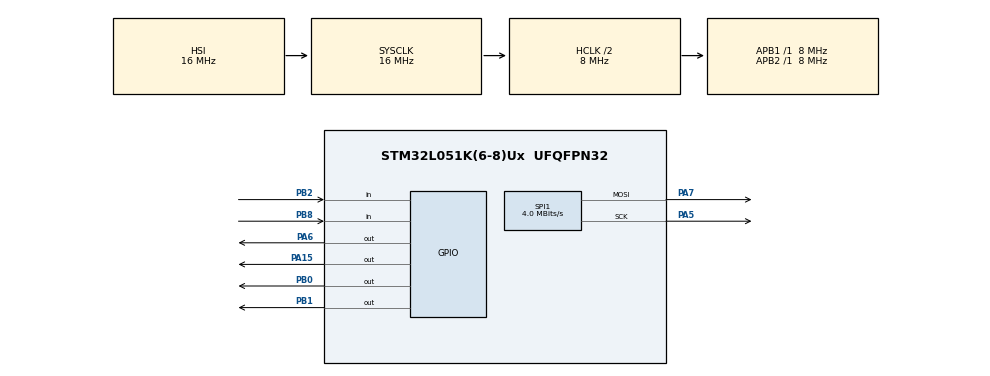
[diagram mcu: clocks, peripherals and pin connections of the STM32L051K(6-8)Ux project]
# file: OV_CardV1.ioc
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Mcu.Family=STM32L0
Mcu.Name=STM32L051K(6-8)Ux
Mcu.Package=UFQFPN32
NVIC.PVD_IRQn=true\:0\:0\:false\:false\:true\:true\:true\:true
PA13.Mode=Serial_Wire
PA13.Signal=SYS_SWDIO
PA14.Mode=Serial_Wire
PA14.Signal=SYS_SWCLK
PA15.Signal=GPIO_Output
PA5.Mode=TX_Only_Simplex_Unidirect_Master
PA5.Signal=SPI1_SCK
PA6.Signal=GPIO_Output
PA7.Mode=TX_Only_Simplex_Unidirect_Master
PA7.Signal=SPI1_MOSI
PB0.Signal=GPIO_Output
PB1.Signal=GPIO_Output
PB2.Signal=GPIO_Input
PB8.Signal=GPIO_Input
ProjectManager.HeapSize=0x200
ProjectManager.StackSize=0x400
ProjectManager.TargetToolchain=MDK-ARM V5.32
RCC.AHBCLKDivider=RCC_SYSCLK_DIV2
RCC.AHBFreq_Value=8000000
RCC.APB1Freq_Value=8000000
RCC.APB1TimFreq_Value=8000000
RCC.APB2Freq_Value=8000000
RCC.APB2TimFreq_Value=8000000
RCC.HCLKFreq_Value=8000000
RCC.HSI16_VALUE=16000000
RCC.HSI_VALUE=16000000
RCC.LSE_VALUE=32768
RCC.MSI_VALUE=2097000
RCC.SYSCLKFreq_VALUE=16000000
RCC.SYSCLKSource=RCC_SYSCLKSOURCE_HSI
RCC.VCOOutputFreq_Value=48000000
SPI1.CalculateBaudRate=4.0 MBits/s
SPI1.Direction=SPI_DIRECTION_2LINES
SPI1.Mode=SPI_MODE_MASTER
SPI1.VirtualType=VM_MASTER
SYS.Mode=PWR_PVD_MODE_IT_RISING
SYS.PVDLevel=PWR_PVDLEVEL_6
VP_SYS_V_PVD_IN.Mode=Mode_PVD_Int
board=custom

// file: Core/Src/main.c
/* USER CODE BEGIN Header */
/**
  ******************************************************************************
  * @file           : main.c
  * @brief          : Main program body
  ******************************************************************************
  * @attention
  *
  * Copyright (c) 2023 STMicroelectronics.
  * All rights reserved.
  *
  * This software is licensed under terms that can be found in the LICENSE file
  * in the root directory of this software component.
  * If no LICENSE file comes with this software, it is provided AS-IS.
  *
  ******************************************************************************
  */
/* USER CODE END Header */
#include "main.h"
#include "spi.h"
#include "gpio.h"

/* USER CODE BEGIN Includes */
#include <stdlib.h>
#include "RC522.h"
#include "key.h"
#include "EEPROM.h"
#include "EPD_1in54_V2.h"
#include "GUI_Paint.h"
#include "ImageData.h"
/* USER CODE END Includes */

/* USER CODE BEGIN PM */
int fputc(int ch, FILE *f)
{

  //HAL_UART_Transmit(&huart1, (uint8_t *)&ch, 1, 0xffff);

  return ch;
}

/* USER CODE END PM */

/* USER CODE BEGIN PV */

uint8_t RC522_ERRO = 1;
uint8_t EEPROM_ERRO = 1;

/* USER CODE END PV */

void SystemClock_Config(void);

/* USER CODE BEGIN 0 */
unsigned char snr, TagType[2], SelectedSnr[4], DefaultKey[6] = {0xFF, 0xFF, 0xFF, 0xFF, 0xFF, 0xFF};
/* USER CODE END 0 */

int main(void)
{
  /* USER CODE BEGIN 1 */

	uint8_t status;
	uint8_t read_buf[16];
	uint8_t data_addr;
	uint8_t cuid_flag = 1;
	uint8_t epd_flag = 0;
  /* USER CODE END 1 */

  /* MCU Configuration--------------------------------------------------------*/

  /* Reset of all peripherals, Initializes the Flash interface and the Systick. */
  HAL_Init();

  /* Configure the system clock */
  SystemClock_Config();

  /* Initialize all configured peripherals */
  MX_GPIO_Init();
  MX_SPI1_Init();
  /* USER CODE BEGIN 2 */

	key_port_init();

	RC522_Port_Init();
	RC522_PowerOff();

	//Create a new image cache
  UBYTE *BlackImage;
  /* you have to edit the startup_stm32fxxx.s file and set a big enough heap size */
  UWORD Imagesize = ((EPD_1IN54_V2_WIDTH % 8 == 0)? (EPD_1IN54_V2_WIDTH / 8 ): (EPD_1IN54_V2_WIDTH / 8 + 1)) * EPD_1IN54_V2_HEIGHT;
	if((BlackImage = (UBYTE *)malloc(Imagesize)) == NULL) {
        printf("Failed to apply for black memory...\r\n");
    }
	Paint_NewImage(BlackImage, EPD_1IN54_V2_WIDTH, EPD_1IN54_V2_HEIGHT, 270, WHITE);//creat a new image
	Paint_SelectImage(BlackImage);//set the pointer
  Paint_Clear(WHITE);

	if(!EEPROM_Read_W_CHECK(0x00,read_buf,2))
	{
		if(read_buf[0] == 0x55 && read_buf[1] == 0xAA)
		{
			EEPROM_ERRO = 0;
			EEPROM_Read_W_CHECK(DATA_ADDR_ADDR,&data_addr,1);
		}
		else//first use
		{
			read_buf[0] = 0x55;
			read_buf[1] = 0xAA;
			read_buf[2] = 0x10;

			EEPROM_ERRO = EEPROM_Write_W_CHECK(0,read_buf,3);
			if(!EEPROM_ERRO)
			{
				EEPROM_Read_W_CHECK(DATA_ADDR_ADDR,&data_addr,1);

				uint8_t temp = data_addr>>4 & 0x0F;
				temp = (temp-1)*50;

				Paint_DrawBitMap(gImage_MainPic);//put the image in ram
				Paint_DrawBitMap_Paste(gImage_PointerPic,163-temp,145,24,32,0);

				DEV_Module_Init();
				EPD_1IN54_V2_Init();

				EPD_1IN54_V2_Display(BlackImage);

				EPD_1IN54_V2_Sleep();//sleep
				//free(BlackImage);//free
				//BlackImage = NULL;//clear
				DEV_Module_Exit();//exit

			}
		}
	}
	HAL_GPIO_WritePin(GPIOA,GPIO_PIN_15,GPIO_PIN_SET);

	/*********check the CUID card is selected or not************/
	if(HAL_GPIO_ReadPin(GPIOB,GPIO_PIN_8))//the UID card is selected
	{
		if(cuid_flag)
		{
			RC522_ERRO = RC522_Init();
			/*************write the cuid************/
			status= PcdRequest(REQ_ALL,TagType);
			if(!status)
			{
				status = PcdAnticoll(SelectedSnr);
				if(!status)
				{
					status=PcdSelect(SelectedSnr);
					if(!status)
					{
						snr = 0;  //sector 0
						status = PcdAuthState(KEYA, (snr*4+3), DefaultKey, SelectedSnr);
						{
							if(!status)
							{
								if(!EEPROM_ERRO)
								{
									EEPROM_Read_W_CHECK(data_addr,read_buf,16);
								}
								status = PcdWrite((snr*4+0), read_buf);
								if(!status)
								{
									HAL_GPIO_WritePin(GPIOA,GPIO_PIN_15,GPIO_PIN_SET);
									cuid_flag = 0;
									//WaitCardOff();
									HAL_GPIO_WritePin(GPIOA,GPIO_PIN_15,GPIO_PIN_RESET);
									RC522_PowerOff();
								}
							}
						}
					}
				}
			}
			/***************************************/
		}
	}
	else	//the UID card is disabled
	{
		/***********search the card***************/
		if(cuid_flag)
		{
			RC522_ERRO = RC522_Init();
			status= PcdRequest(REQ_ALL,TagType);
			if(!status)
			{
				status = PcdAnticoll(SelectedSnr);
				if(!status)
				{
					status=PcdSelect(SelectedSnr);
					if(!status)
					{
						snr = 0;  //sector 0
						status = PcdAuthState(KEYA, (snr*4+3), DefaultKey, SelectedSnr);
						{
							if(!status)
							{
								status = PcdRead((snr*4+0), read_buf);
								if(!status)
								{
									HAL_GPIO_WritePin(GPIOA,GPIO_PIN_15,GPIO_PIN_SET);
									//WaitCardOff();
									if(!EEPROM_ERRO)
									{
										EEPROM_Write_W_CHECK(data_addr,read_buf,16);
									}
									HAL_GPIO_WritePin(GPIOA,GPIO_PIN_15,GPIO_PIN_RESET);
									//return 0;
									RC522_PowerOff();
									cuid_flag = 0;
								}
							}
						}
					}
				}
			}
		}
		/****************************************/
	}
	/***********************************************************/

  /* USER CODE END 2 */

  /* Infinite loop */
  while (1)
  {

    /* USER CODE BEGIN 3 */

		/*****************Key Scan*****************/
		uint8_t key;
		key = KeyScan(0);
		if(key == 1)
		{
			data_addr -= 0x10;//data_addr --, change to previous UID
			if(data_addr<0x10)
				data_addr = 0x10*ID_NUM;
			HAL_GPIO_WritePin(GPIOA,GPIO_PIN_15,GPIO_PIN_SET);
			if(!EEPROM_ERRO)
			{
				EEPROM_Write_W_CHECK(DATA_ADDR_ADDR,&data_addr,1);
			}
			epd_flag = 1;
		}
		else if(key == 2)
		{
			data_addr += 0x10;//data_addr add, change to next UID
			if(data_addr>(0x10*ID_NUM))
				data_addr = 0x10;
			HAL_GPIO_WritePin(GPIOA,GPIO_PIN_15,GPIO_PIN_SET);
			if(!EEPROM_ERRO)
			{
				EEPROM_Write_W_CHECK(DATA_ADDR_ADDR,&data_addr,1);
			}
			epd_flag = 1;
		}
		/******************************************/

		/*********check the ID Change and Display the pic***********/
		if(epd_flag)
		{
			uint8_t temp = data_addr>>4 & 0x0F;
			temp = (temp-1)*50;

			Paint_DrawBitMap(gImage_MainPic);//put the image in ram
      		Paint_DrawBitMap_Paste(gImage_PointerPic,163-temp,145,24,32,0);

			DEV_Module_Init();
			EPD_1IN54_V2_Init();

      		EPD_1IN54_V2_Display(BlackImage);

			EPD_1IN54_V2_Sleep();
			DEV_Module_Exit();

			epd_flag = 0;
		}
		/***********************************************************/

  }
  /* USER CODE END 3 */
}

void SystemClock_Config(void)
{
  RCC_OscInitTypeDef RCC_OscInitStruct = {0};
  RCC_ClkInitTypeDef RCC_ClkInitStruct = {0};

  /** Configure the main internal regulator output voltage
  */
  __HAL_PWR_VOLTAGESCALING_CONFIG(PWR_REGULATOR_VOLTAGE_SCALE1);

  /** Initializes the RCC Oscillators according to the specified parameters
  * in the RCC_OscInitTypeDef structure.
  */
  RCC_OscInitStruct.OscillatorType = RCC_OSCILLATORTYPE_HSI;
  RCC_OscInitStruct.HSIState = RCC_HSI_ON;
  RCC_OscInitStruct.HSICalibrationValue = RCC_HSICALIBRATION_DEFAULT;
  RCC_OscInitStruct.PLL.PLLState = RCC_PLL_NONE;
  if (HAL_RCC_OscConfig(&RCC_OscInitStruct) != HAL_OK)
  {
    Error_Handler();
  }

  /** Initializes the CPU, AHB and APB buses clocks
  */
  RCC_ClkInitStruct.ClockType = RCC_CLOCKTYPE_HCLK|RCC_CLOCKTYPE_SYSCLK
                              |RCC_CLOCKTYPE_PCLK1|RCC_CLOCKTYPE_PCLK2;
  RCC_ClkInitStruct.SYSCLKSource = RCC_SYSCLKSOURCE_HSI;
  RCC_ClkInitStruct.AHBCLKDivider = RCC_SYSCLK_DIV2;
  RCC_ClkInitStruct.APB1CLKDivider = RCC_HCLK_DIV1;
  RCC_ClkInitStruct.APB2CLKDivider = RCC_HCLK_DIV1;

  if (HAL_RCC_ClockConfig(&RCC_ClkInitStruct, FLASH_LATENCY_0) != HAL_OK)
  {
    Error_Handler();
  }
}

void Error_Handler(void)
{
  __disable_irq();
  while (1)
  {
  }
}
